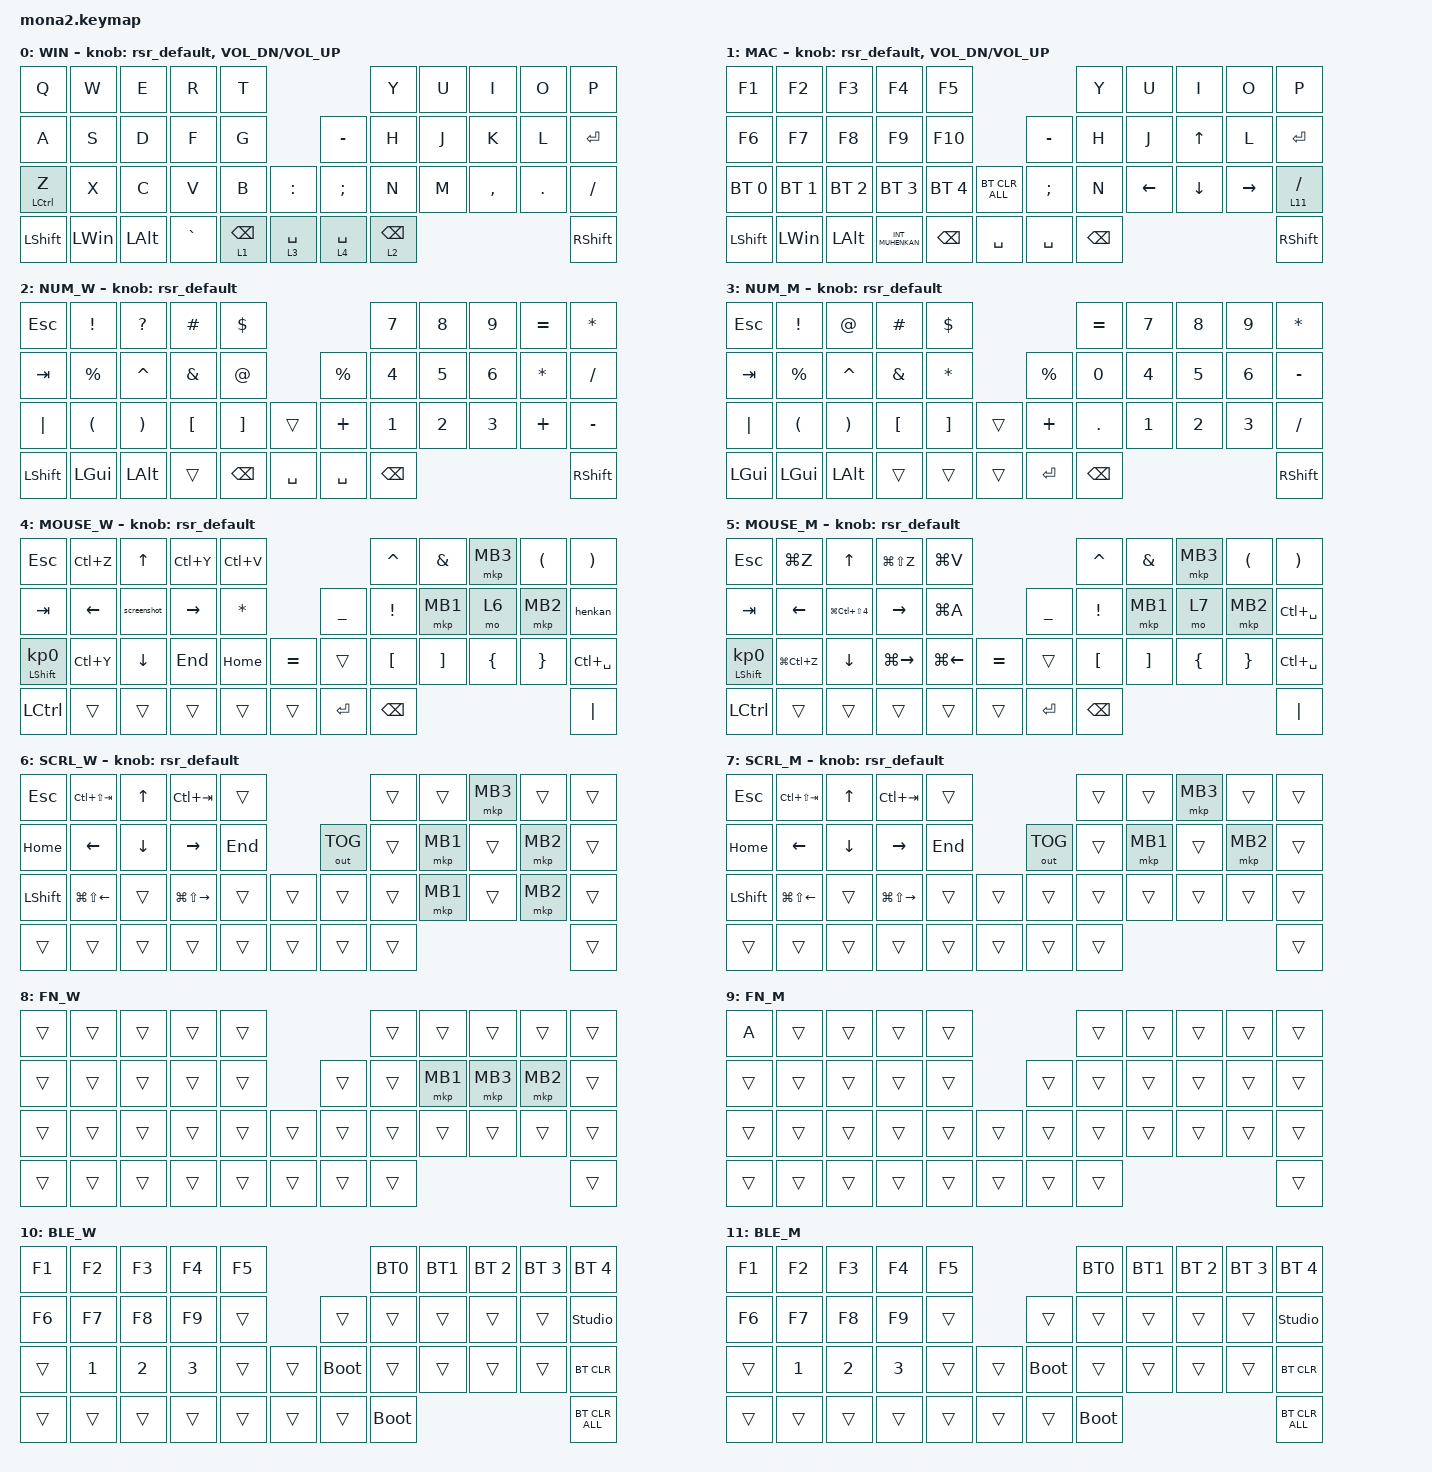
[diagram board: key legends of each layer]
#include <input/processors.dtsi>
#include <dt-bindings/zmk/input_transform.h>
#include <zephyr/dt-bindings/input/input-event-codes.h>
#include <behaviors/runtime-sensor-rotate.dtsi>
#include <behaviors.dtsi>
#include <dt-bindings/zmk/bt.h>
#include <dt-bindings/zmk/keys.h>
#include <dt-bindings/zmk/outputs.h>
#include <dt-bindings/zmk/pointing.h>

/* ZMK 側で 10 が定義済みなので警告回避のため一旦 undef */

#undef ZMK_POINTING_DEFAULT_SCRL_VAL

#define ZMK_POINTING_DEFAULT_SCRL_VAL 100

&mt {
    flavor = "balanced";
    quick-tap-ms = <0>;
};

&lt {
    quick-tap-ms = <200>;
    flavor = "balanced";
};

&msc {
    delay-ms = <0>;
    time-to-max-speed-ms = <0>;
    acceleration-exponent = <0>;
};

/ {
    combos {
        compatible = "zmk,combos";

        layer4_ESC {
            bindings = <&lt 4 ESC>;
            key-positions = <39 38>;
        };

        tab {
            bindings = <&kp TAB>;
            key-positions = <11 12>;
        };
    };

    macros {
        to_layer_0: to_layer_0 {
            compatible = "zmk,behavior-macro-one-param";
            #binding-cells = <1>;
            bindings = <&to 0 &macro_param_1to1 &kp MACRO_PLACEHOLDER>;
            label = "TO_LAYER_0";
        };

        BT0: BT0 {
            compatible = "zmk,behavior-macro";
            #binding-cells = <0>;
            bindings =
                <&tog_off 0 &tog_off 1>,
                <&macro_wait_time 200>,
                <&bt BT_SEL 0>,
                <&macro_wait_time 500>,
                <&tog_on 0>;

            label = "BT0";
        };

        BT1: BT1 {
            compatible = "zmk,behavior-macro";
            #binding-cells = <0>;
            bindings =
                <&tog_off 0 &tog_off 1>,
                <&macro_wait_time 200>,
                <&bt BT_SEL 1>,
                <&macro_wait_time 500>,
                <&tog_on 1>;

            label = "BT1";
        };

        screenshot: screenshot {
            compatible = "zmk,behavior-macro";
            #binding-cells = <0>;
            bindings =
                <&macro_press>,
                <&kp LEFT_GUI &kp RSHIFT>,
                <&macro_wait_time 20>,
                <&macro_tap>,
                <&kp S>,
                <&macro_release>,
                <&kp LEFT_GUI &kp RSHIFT>;

            label = "SCREENSHOT";
        };

        henkan: henkan {
            compatible = "zmk,behavior-macro";
            #binding-cells = <0>;
            bindings =
                <&macro_press>,
                <&kp LEFT_ALT>,
                <&macro_wait_time 20>,
                <&macro_tap>,
                <&kp GRAVE>,
                <&macro_release>,
                <&kp LEFT_ALT>;

            label = "HENKAN";
        };
    };

    behaviors {
        lt_to_layer_0: lt_to_layer_0 {
            compatible = "zmk,behavior-hold-tap";
            label = "LAYER_TAP_TO_0";
            bindings = <&mo>, <&to_layer_0>;

            #binding-cells = <2>;
            tapping-term-ms = <200>;
        };

        tp_repeat_mo1: tp_repeat_mo1 {
            compatible = "zmk,behavior-hold-tap";
            label = "TP_REPEAT_MO1";
            bindings = <&mo>, <&key_repeat>;

            #binding-cells = <2>;
            tapping-term-ms = <200>;
        };

        // エンコーダ用 runtime-configurable sensor rotate
        // デフォルトはスクロール (cw=SCRL_DOWN, ccw=SCRL_UP)
        // DYA Studio Web UI から レイヤーごとに cw/ccw の binding を
        // kp C_VOL_UP/DN や kp LEFT/RIGHT などへ動的変更可能

        rsr_default: rsr_default {
            compatible = "zmk,behavior-runtime-sensor-rotate";
            #sensor-binding-cells = <0>;
            tap-ms = <16>;
            cw-binding = <&msc SCRL_DOWN>;
            ccw-binding = <&msc SCRL_UP>;
        };

        tog_on: toggle_layer_on_only {
            compatible = "zmk,behavior-toggle-layer";
            #binding-cells = <1>;
            display-name = "Toggle Layer On";
            toggle-mode = "on";
        };

        tog_off: toggle_layer_off_only {
            compatible = "zmk,behavior-toggle-layer";
            #binding-cells = <1>;
            display-name = "Toggle Layer Off";
            toggle-mode = "off";
        };

        zfold: zfold {
            compatible = "zmk,behavior-hold-tap";
            label = "ZFOLD";
            bindings = <&kp>, <&kp>;

            #binding-cells = <2>;
            tapping-term-ms = <300>;
            flavor = "hold-preferred";
            quick-tap-ms = <150>;
            hold-while-undecided;
        };

        zfoldZ: zfoldZ {
            compatible = "zmk,behavior-tap-dance";
            label = "ZFOLDZ";
            #binding-cells = <0>;
            bindings = <&zfold LEFT_SHIFT Z>, <&kp LS(Z)>;
        };
    };

    keymap {
        compatible = "zmk,keymap";

        win_layer {
            display-name = "WIN";
            bindings = <
&kp Q           &kp W         &kp E         &kp R      &kp T                                          &kp Y            &kp U  &kp I      &kp O    &kp P
&kp A           &kp S         &kp D         &kp F      &kp G                           &kp MINUS      &kp H            &kp J  &kp K      &kp L    &kp ENTER
&mt LCTRL Z     &kp X         &kp C         &kp V      &kp B            &kp COLON      &kp SEMICOLON  &kp N            &kp M  &kp COMMA  &kp DOT  &kp SLASH
&kp LEFT_SHIFT  &kp LEFT_WIN  &kp LEFT_ALT  &kp GRAVE  &lt 1 BACKSPACE  &lt 3 SPACE    &lt 4 SPACE    &lt 2 BACKSPACE                             &kp RIGHT_SHIFT
            >;

            sensor-bindings = <&rsr_default>, <&inc_dec_kp C_VOL_DN C_VOL_UP>;
        };

        mac_layer {
            display-name = "MAC";
            bindings = <
&kp F1          &kp F2        &kp F3        &kp F4            &kp F5                                          &kp Y          &kp U           &kp I           &kp O            &kp P
&kp F6          &kp F7        &kp F8        &kp F9            &kp F10                          &kp MINUS      &kp H          &kp J           &kp UP_ARROW    &kp L            &kp ENTER
&bt BT_SEL 0    &bt BT_SEL 1  &bt BT_SEL 2  &bt BT_SEL 3      &bt BT_SEL 4   &bt BT_CLR_ALL    &kp SEMICOLON  &kp N          &kp LEFT_ARROW  &kp DOWN_ARROW  &kp RIGHT_ARROW  &lt 11 SLASH
&kp LEFT_SHIFT  &kp LEFT_WIN  &kp LEFT_ALT  &kp INT_MUHENKAN  &kp BACKSPACE  &kp SPACE         &kp SPACE      &kp BACKSPACE                                                   &kp RIGHT_SHIFT
            >;

            sensor-bindings = <&rsr_default>, <&inc_dec_kp C_VOL_DN C_VOL_UP>;
        };

        num_win {
            display-name = "NUM_W";
            bindings = <
&kp ESCAPE      &kp EXCLAMATION       &kp QUESTION           &kp HASH          &kp DOLLAR                                   &kp NUMBER_7   &kp NUMBER_8  &kp NUMBER_9  &kp EQUAL     &kp ASTERISK
&kp TAB         &kp PERCENT           &kp CARET              &kp AMPERSAND     &kp AT_SIGN                     &kp PERCENT  &kp NUMBER_4   &kp NUMBER_5  &kp NUMBER_6  &kp ASTERISK  &kp SLASH
&kp PIPE        &kp LEFT_PARENTHESIS  &kp RIGHT_PARENTHESIS  &kp LEFT_BRACKET  &kp RIGHT_BRACKET  &trans       &kp PLUS     &kp NUMBER_1   &kp NUMBER_2  &kp NUMBER_3  &kp PLUS      &kp MINUS
&kp LEFT_SHIFT  &kp LEFT_GUI          &kp LEFT_ALT           &trans            &kp BACKSPACE      &kp SPACE    &kp SPACE    &kp BACKSPACE                                            &kp RIGHT_SHIFT
            >;

            sensor-bindings = <&rsr_default>;
        };

        num_mac {
            display-name = "NUM_M";
            bindings = <
&kp ESCAPE    &kp EXCLAMATION       &kp AT_SIGN            &kp HASH          &kp DOLLAR                                &kp EQUAL      &kp NUMBER_7  &kp NUMBER_8  &kp NUMBER_9  &kp ASTERISK
&kp TAB       &kp PERCENT           &kp CARET              &kp AMPERSAND     &kp ASTERISK                 &kp PERCENT  &kp NUMBER_0   &kp NUMBER_4  &kp NUMBER_5  &kp NUMBER_6  &kp MINUS
&kp PIPE      &kp LEFT_PARENTHESIS  &kp RIGHT_PARENTHESIS  &kp LEFT_BRACKET  &kp RIGHT_BRACKET  &trans    &kp PLUS     &kp DOT        &kp NUMBER_1  &kp NUMBER_2  &kp NUMBER_3  &kp SLASH
&kp LEFT_GUI  &kp LEFT_GUI          &kp LEFT_ALT           &trans            &trans             &trans    &kp ENTER    &kp BACKSPACE                                            &kp RIGHT_SHIFT
            >;

            sensor-bindings = <&rsr_default>;
        };

        mouse_win {
            display-name = "MOUSE_W";
            bindings = <
&kp ESCAPE                  &kp LC(Z)       &kp UP_ARROW    &kp LC(Y)        &kp LC(V)                                  &kp CARET         &kp AMPERSAND      &mkp MB3        &kp LEFT_PARENTHESIS  &kp RIGHT_PARENTHESIS
&kp TAB                     &kp LEFT_ARROW  &screenshot     &kp RIGHT_ARROW  &kp ASTERISK               &kp UNDERSCORE  &kp EXCLAMATION   &mkp MB1           &mo 6           &mkp MB2              &henkan
&mt LEFT_SHIFT KP_NUMBER_0  &kp LC(Y)       &kp DOWN_ARROW  &kp END          &kp HOME      &kp EQUAL    &trans          &kp LEFT_BRACKET  &kp RIGHT_BRACKET  &kp LEFT_BRACE  &kp RIGHT_BRACE       &kp LC(SPACE)
&kp LCTRL                   &trans          &trans          &trans           &trans        &trans       &kp ENTER       &kp BACKSPACE                                                              &kp PIPE
            >;

            sensor-bindings = <&rsr_default>;
        };

        mouse_mac {
            display-name = "MOUSE_M";
            bindings = <
&kp ESCAPE                  &kp LG(Z)       &kp UP_ARROW              &kp LG(LS(Z))    &kp LG(V)                                  &kp CARET         &kp AMPERSAND      &mkp MB3        &kp LEFT_PARENTHESIS  &kp RIGHT_PARENTHESIS
&kp TAB                     &kp LEFT_ARROW  &kp LG(LC(LS(NUMBER_4)))  &kp RIGHT_ARROW  &kp LG(A)                  &kp UNDERSCORE  &kp EXCLAMATION   &mkp MB1           &mo 7           &mkp MB2              &kp LC(SPACE)
&mt LEFT_SHIFT KP_NUMBER_0  &kp LG(LC(Z))   &kp DOWN_ARROW            &kp LG(RIGHT)    &kp LG(LEFT)  &kp EQUAL    &trans          &kp LEFT_BRACKET  &kp RIGHT_BRACKET  &kp LEFT_BRACE  &kp RIGHT_BRACE       &kp LC(SPACE)
&kp LCTRL                   &trans          &trans                    &trans           &trans        &trans       &kp ENTER       &kp BACKSPACE                                                              &kp PIPE
            >;

            sensor-bindings = <&rsr_default>;
        };

        scroll_win {
            display-name = "SCRL_W";
            bindings = <
&kp ESCAPE      &kp LC(LS(TAB))         &kp UP_ARROW    &kp LC(TAB)              &trans                           &trans  &trans    &mkp MB3  &trans    &trans
&kp HOME        &kp LEFT_ARROW          &kp DOWN_ARROW  &kp RIGHT_ARROW          &kp END            &out OUT_TOG  &trans  &mkp MB1  &trans    &mkp MB2  &trans
&kp LEFT_SHIFT  &kp LG(LS(LEFT_ARROW))  &trans          &kp LG(LS(RIGHT_ARROW))  &trans   &trans    &trans        &trans  &mkp MB1  &trans    &mkp MB2  &trans
&trans          &trans                  &trans          &trans                   &trans   &trans    &trans        &trans                                &trans
            >;

            sensor-bindings = <&rsr_default>;
        };

        scroll_mac {
            display-name = "SCRL_M";
            bindings = <
&kp ESCAPE      &kp LC(LS(TAB))         &kp UP_ARROW    &kp LC(TAB)              &trans                           &trans  &trans    &mkp MB3  &trans    &trans
&kp HOME        &kp LEFT_ARROW          &kp DOWN_ARROW  &kp RIGHT_ARROW          &kp END            &out OUT_TOG  &trans  &mkp MB1  &trans    &mkp MB2  &trans
&kp LEFT_SHIFT  &kp LG(LS(LEFT_ARROW))  &trans          &kp LG(LS(RIGHT_ARROW))  &trans   &trans    &trans        &trans  &trans    &trans    &trans    &trans
&trans          &trans                  &trans          &trans                   &trans   &trans    &trans        &trans                                &trans
            >;

            sensor-bindings = <&rsr_default>;
        };

        function_win {
            display-name = "FN_W";
            bindings = <
&trans  &trans  &trans  &trans  &trans                    &trans  &trans    &trans    &trans    &trans
&trans  &trans  &trans  &trans  &trans            &trans  &trans  &mkp MB1  &mkp MB3  &mkp MB2  &trans
&trans  &trans  &trans  &trans  &trans  &trans    &trans  &trans  &trans    &trans    &trans    &trans
&trans  &trans  &trans  &trans  &trans  &trans    &trans  &trans                                &trans
            >;
        };

        function_mac {
            display-name = "FN_M";
            bindings = <
&kp A   &trans  &trans  &trans  &trans                    &trans  &trans  &trans  &trans  &trans
&trans  &trans  &trans  &trans  &trans            &trans  &trans  &trans  &trans  &trans  &trans
&trans  &trans  &trans  &trans  &trans  &trans    &trans  &trans  &trans  &trans  &trans  &trans
&trans  &trans  &trans  &trans  &trans  &trans    &trans  &trans                          &trans
            >;
        };

        ble_win {
            display-name = "BLE_W";
            bindings = <
&kp F1  &kp F2        &kp F3        &kp F4        &kp F5                         &BT0         &BT1    &bt BT_SEL 2  &bt BT_SEL 3  &bt BT_SEL 4
&kp F6  &kp F7        &kp F8        &kp F9        &trans            &trans       &trans       &trans  &trans        &trans        &studio_unlock
&trans  &kp NUMBER_1  &kp NUMBER_2  &kp NUMBER_3  &trans  &trans    &bootloader  &trans       &trans  &trans        &trans        &bt BT_CLR
&trans  &trans        &trans        &trans        &trans  &trans    &trans       &bootloader                                      &bt BT_CLR_ALL
            >;
        };

        ble_mac {
            display-name = "BLE_M";
            bindings = <
&kp F1  &kp F2        &kp F3        &kp F4        &kp F5                         &BT0         &BT1    &bt BT_SEL 2  &bt BT_SEL 3  &bt BT_SEL 4
&kp F6  &kp F7        &kp F8        &kp F9        &trans            &trans       &trans       &trans  &trans        &trans        &studio_unlock
&trans  &kp NUMBER_1  &kp NUMBER_2  &kp NUMBER_3  &trans  &trans    &bootloader  &trans       &trans  &trans        &trans        &bt BT_CLR
&trans  &trans        &trans        &trans        &trans  &trans    &trans       &bootloader                                      &bt BT_CLR_ALL
            >;
        };
    };
};
